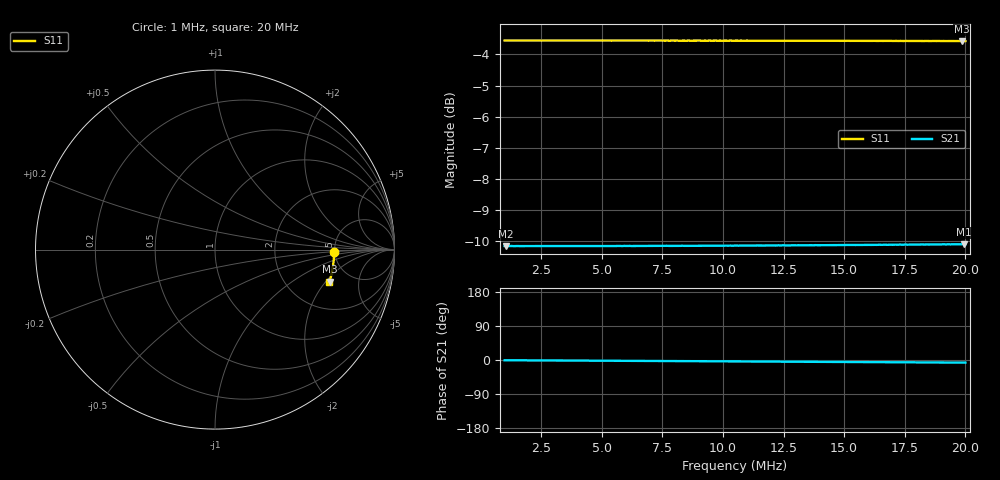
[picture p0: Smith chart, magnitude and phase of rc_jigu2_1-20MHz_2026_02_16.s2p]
# HZ S RI R 50
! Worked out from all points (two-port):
!   401 points, 1 MHz to 20 MHz, reference 50 ohm
!   highest |S21| = -10.08 dB at 19.95 MHz (marker M1); lowest = -10.1 dB at 1.048 MHz (marker M2)
!   |S21| within 3 dB of the highest: start of sweep to end of sweep
!   lowest |S11| = -3.6 dB at 19.86 MHz (marker M3), VSWR 4.93, Z = 172 - j110 ohm
!   |S11| at or under -10 dB: nowhere
!   S12 and S22 are empty: the file has one direction only
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1000000  0.6639 -0.0109  0.3109 -0.00367  0 0  0 0
1047500  0.6639 -0.0112  0.3108 -0.00372  0 0  0 0
1142500  0.6638 -0.0121  0.3108 -0.00378  0 0  0 0
1237500  0.6639 -0.0129  0.3109 -0.00389  0 0  0 0
1807500  0.6638 -0.0183  0.3109 -0.00477  0 0  0 0
3375000  0.6632 -0.0324  0.3108 -0.00736  0 0  0 0
4182500  0.663 -0.0396  0.3109 -0.00881  0 0  0 0
5607500  0.6618 -0.0525  0.3108 -0.0112  0 0  0 0
7365000  0.6603 -0.0683  0.3108 -0.0143  0 0  0 0
8172500  0.6593 -0.0756  0.3107 -0.0158  0 0  0 0
8885000  0.6586 -0.082  0.3108 -0.0171  0 0  0 0
9550000  0.6578 -0.088  0.3108 -0.0183  0 0  0 0
1.05e7  0.6567 -0.0964  0.3109 -0.02  0 0  0 0
1.19725e7  0.6544 -0.1095  0.3108 -0.0228  0 0  0 0
1.36825e7  0.6515 -0.125  0.3108 -0.0261  0 0  0 0
1.48225e7  0.6493 -0.1349  0.3108 -0.0281  0 0  0 0
1.544e7  0.6482 -0.1404  0.3108 -0.0292  0 0  0 0
1.6865e7  0.6452 -0.1529  0.3109 -0.032  0 0  0 0
1.81e7  0.6423 -0.1637  0.3108 -0.0342  0 0  0 0
1.98575e7  0.6379 -0.179  0.3108 -0.0376  0 0  0 0
1.99525e7  0.6379 -0.1798  0.3109 -0.0378  0 0  0 0
2e7  0.6376 -0.1804  0.3108 -0.0379  0 0  0 0
